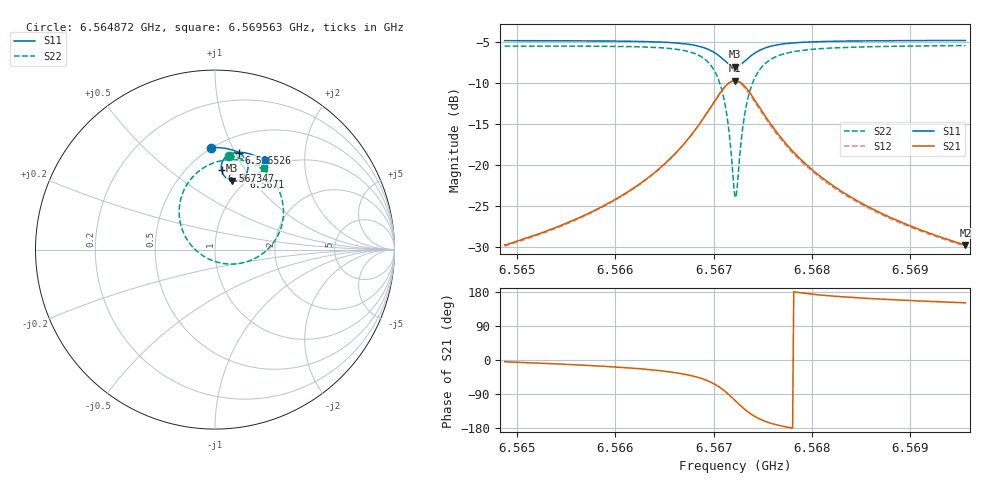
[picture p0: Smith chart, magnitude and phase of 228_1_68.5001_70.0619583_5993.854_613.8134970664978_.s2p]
#  HZ  S  RI  R  50.00
! Rohde & Schwarz Vector Network Analyzer
! Rohde-Schwarz,ZNB20-2Port,1311601062101988,3.16
! Created: UTC 3/20/2024, 5:13:55 PM
! freq[Hz]  re:S11  im:S11  re:S21  im:S21  re:S12  im:S12  re:S22  im:S22
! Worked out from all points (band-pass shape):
!   401 points, 6.564872 GHz to 6.569563 GHz, reference 50 ohm
!   highest |S21| = -9.75 dB at 6.567218 GHz (marker M1); lowest = -29.8 dB at 6.569563 GHz (marker M2)
!   |S21| within 3 dB of the highest: 6.566984 GHz to 6.567453 GHz (468.4 kHz wide, 0.00713 % of centre)
!   lowest |S11| = -8.1 dB at 6.567218 GHz (marker M3), VSWR 2.31, Z = 43.4 + j39.6 ohm
!   |S11| at or under -10 dB: nowhere
!   |S22| runs from -24.0 to -5.5 dB; largest |S21 - S12| = 0.017
!   S11 on the Smith chart (normalised r, x): 6.564872 GHz: 0.49, +0.83; 6.566526 GHz: 0.66, +1.03; 6.5671 GHz: 0.93, +0.94; 6.567347 GHz: 0.72, +0.79; 6.569563 GHz: 0.88, +1.29
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6.5648724e9  -0.0226 0.5687  0.0324 -0.00249  0.0318 -0.00307  0.0802 0.5208
6.5656581e9  0.044 0.5657  0.0471 -0.0113  0.0463 -0.012  0.161 0.5017
6.5660685e9  0.0823 0.5591  0.0613 -0.0219  0.0603 -0.0226  0.2149 0.4784
6.5664438e9  0.1225 0.5448  0.0835 -0.0441  0.0822 -0.0451  0.2809 0.4327
6.5665259e9  0.1325 0.5396  0.0901 -0.0528  0.0888 -0.0539  0.2989 0.4152
6.5667604e9  0.1633 0.514  0.1126 -0.0964  0.1108 -0.0985  0.3561 0.3298
6.5669246e9  0.1819 0.4764  0.1212 -0.1626  0.1179 -0.1663  0.3815 0.2023
6.5670301e9  0.1804 0.4362  0.1001 -0.2329  0.0933 -0.2376  0.3449 0.0685
6.5671005e9  0.1622 0.4054  0.0539 -0.2855  0.0428 -0.2891  0.2576 -0.0283
6.5671474e9  0.1389 0.3891  0.00259 -0.3112  -0.0113 -0.3117  0.1618 -0.0721
6.5671943e9  0.1082 0.3829  -0.0607 -0.3178  -0.0758 -0.3134  0.0461 -0.0775
6.5672177e9  0.0921 0.3848  -0.0935 -0.3116  -0.1082 -0.3043  -0.0121 -0.0621
6.5672412e9  0.0767 0.3902  -0.1245 -0.299  -0.1379 -0.2893  -0.0654 -0.0355
6.5672998e9  0.0474 0.4154  -0.1833 -0.2467  -0.1916 -0.2331  -0.1615 0.0654
6.5673467e9  0.0363 0.441  -0.2074 -0.1965  -0.2109 -0.1824  -0.1949 0.157
6.5674405e9  0.0395 0.4854  -0.2089 -0.1108  -0.2069 -0.1001  -0.183 0.3064
6.5675813e9  0.0672 0.5218  -0.1722 -0.0404  -0.1683 -0.0344  -0.1044 0.4246
6.5677454e9  0.0993 0.5376  -0.1322 -0.00696  -0.1289 -0.00382  -0.0218 0.4775
6.5680034e9  0.1385 0.5422  -0.0927 0.0102  -0.0902 0.0117  0.0651 0.5
6.5683318e9  0.176 0.5376  -0.0652 0.0158  -0.0636 0.0165  0.1346 0.4995
6.5687891e9  0.218 0.5254  -0.0451 0.0167  -0.044 0.0171  0.1991 0.4861
6.5695631e9  0.2779 0.4985  -0.0283 0.0158  -0.0276 0.016  0.2745 0.4548
